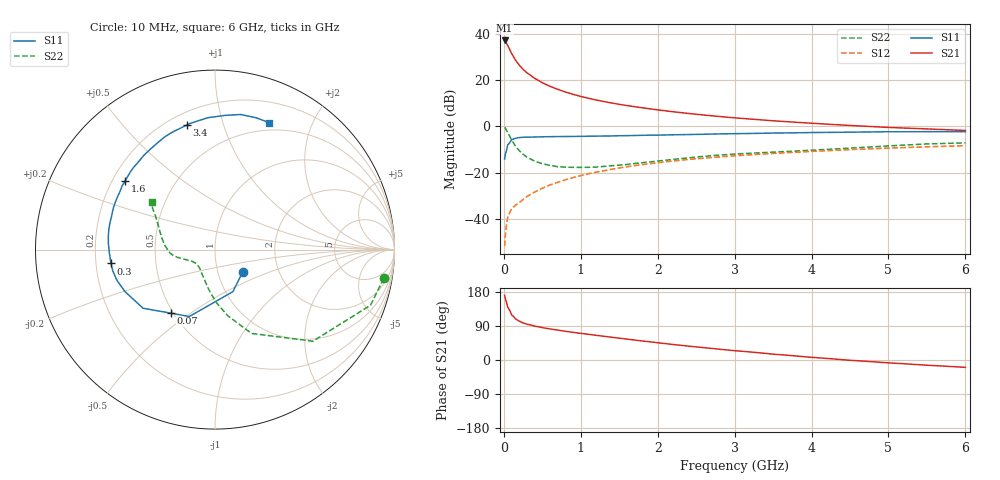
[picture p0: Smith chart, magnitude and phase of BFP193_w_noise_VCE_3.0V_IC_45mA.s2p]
! Infineon Technologies  Discrete & RF Semiconductors
! BFP193
! VCE =  3.0 V,  IC =  45 mA
! Common Emitter S-Parameters:  Jan 2017
# GHz  S  MA  R  50
!  f  S11  S21  S12  S22
! GHz  MAG  ANG  MAG  ANG  MAG  ANG  MAG  ANG
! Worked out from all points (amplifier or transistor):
!   77 points, 10 MHz to 6 GHz, reference 50 ohm
!   highest |S21| = 37.1 dB at 10 MHz (marker M1)
!   |S21| within 3 dB of that: start of sweep to 63.12 MHz
!   unconditionally stable (mu >= 1): 578.4 MHz to 2.445 GHz
!   at 130 MHz: K = 0.61, MSG = 32.3 dB, |S12| = -34.7 dB
!   at 2.2 GHz: K = 1.01, MAG = 10.0 dB, |S12| = -15.0 dB
!   at 6 GHz: K = 0.93, MSG = 3.3 dB, |S12| = -8.3 dB
!   lowest NFmin = 1.45 dB at 450 MHz
!   S11 on the Smith chart (normalised r, x): 10 MHz: 1.32, -0.34; 70 MHz: 0.48, -0.42; 300 MHz: 0.26, -0.06; 1.6 GHz: 0.25, +0.32; 3.4 GHz: 0.27, +0.76; 6 GHz: 0.41, +1.43
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0.01  0.1984 -38.7  71.31 170.4  0.0026 78.8  0.9541 -9.7
0.02  0.2547 -66.9  69.56 161.4  0.0044 78.5  0.9201 -19.7
0.05  0.3992 -111.0  55.78 139.5  0.0108 64.7  0.7473 -43.1
0.07  0.4314 -124.8  47.83 133.3  0.0131 61.5  0.6407 -50.3
0.1  0.5171 -140.8  37.51 119.2  0.0165 58.4  0.5096 -66.4
0.15  0.5531 -154.9  27.06 108.9  0.0198 58.3  0.3753 -79.1
0.2  0.5728 -162.6  20.96 102.4  0.0226 61.1  0.2991 -88.0
0.25  0.5818 -168.4  17.02 97.8  0.0264 62.2  0.2503 -94.6
0.3  0.5847 -172.4  14.29 94.6  0.0305 63.9  0.2165 -100.4
0.4  0.5892 -178.5  10.87 89.4  0.0381 66.0  0.1775 -109.3
0.5  0.5951 176.7  8.728 85.4  0.0461 67.5  0.1565 -116.9
0.6  0.5991 172.6  7.316 81.9  0.0544 67.4  0.1436 -123.4
0.7  0.6022 169.3  6.281 79.0  0.062 67.8  0.1347 -128.5
0.8  0.604 165.9  5.512 75.8  0.0704 67.8  0.1319 -132.9
1.1  0.6131 156.8  4.038 67.8  0.0949 65.7  0.1307 -143.4
1.6  0.6304 142.6  2.809 55.1  0.1341 60.2  0.1504 -155.2
2.1  0.6519 129.5  2.164 43.3  0.1716 53.6  0.1857 -164.0
3.1  0.6985 108.3  1.482 23.0  0.2368 40.7  0.2575 -177.9
3.4  0.711 102.9  1.358 17.5  0.2544 37.2  0.2727 177.4
4.1  0.7376 91.7  1.141 5.6  0.2933 28.8  0.3115 165.1
5.1  0.766 78.0  0.934 -8.7  0.3438 17.1  0.3859 149.9
6  0.7694 66.9  0.817 -19.4  0.3831 7.1  0.4401 142.6
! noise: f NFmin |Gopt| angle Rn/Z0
0.45  1.45  0.4  -171  0.08
0.9  1.49  0.43  -165  0.08
1.9  2.13  0.59  -134  0.21
2.4  2.45  0.63  -119  0.45
